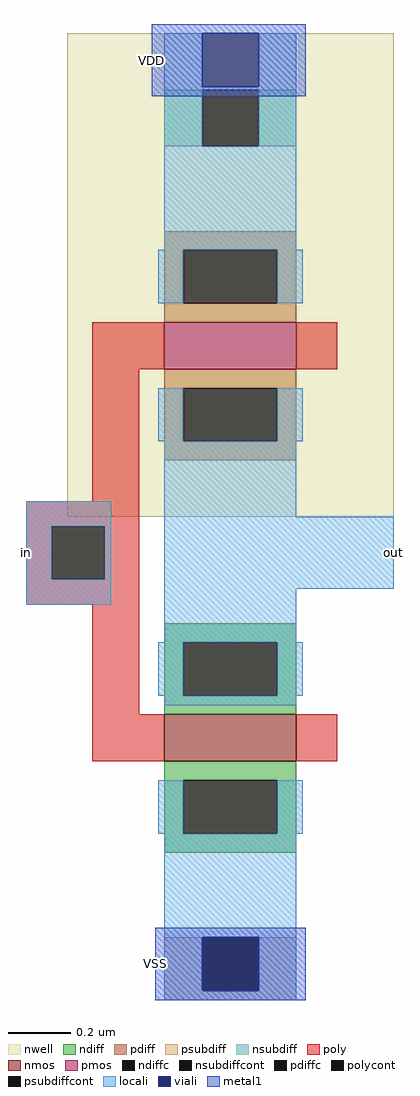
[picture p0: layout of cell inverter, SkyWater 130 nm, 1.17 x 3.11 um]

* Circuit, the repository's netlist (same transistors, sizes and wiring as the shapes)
* NGSPICE file created from inverter.ext - technology: sky130A

.subckt inverter in out VDD VSS
X0 VDD in out VDD sky130_fd_pr__pfet_01v8 ad=1.218e+11p pd=1.42e+06u as=1.218e+11p ps=1.42e+06u w=420000u l=150000u
X1 out in VSS VSS sky130_fd_pr__nfet_01v8 ad=1.218e+11p pd=1.42e+06u as=1.218e+11p ps=1.42e+06u w=420000u l=150000u
.ends

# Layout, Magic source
magic
tech sky130A
<< nwell >>
rect 0 89 104 243
<< nmos >>
rect 31 11 73 26
<< pmos >>
rect 31 136 73 151
<< ndiff >>
rect 31 49 73 55
rect 31 32 37 49
rect 67 32 73 49
rect 31 26 73 32
rect 31 5 73 11
rect 31 -12 37 5
rect 67 -12 73 5
rect 31 -18 73 -12
<< pdiff >>
rect 31 174 73 180
rect 31 157 37 174
rect 67 157 73 174
rect 31 151 73 157
rect 31 130 73 136
rect 31 113 37 130
rect 67 113 73 130
rect 31 107 73 113
<< ndiffc >>
rect 37 32 67 49
rect 37 -12 67 5
<< pdiffc >>
rect 37 157 67 174
rect 37 113 67 130
<< psubdiff >>
rect 31 -62 43 -45
rect 61 -62 73 -45
rect 31 -65 73 -62
<< nsubdiff >>
rect 31 207 43 225
rect 61 207 73 225
<< psubdiffcont >>
rect 43 -62 61 -45
<< nsubdiffcont >>
rect 43 207 61 225
<< poly >>
rect 8 136 31 151
rect 73 136 86 151
rect 8 94 23 136
rect -13 86 23 94
rect -13 69 -5 86
rect 12 69 23 86
rect -13 61 23 69
rect 8 26 23 61
rect 8 11 31 26
rect 73 11 86 26
<< polycont >>
rect -5 69 12 86
<< locali >>
rect 31 226 43 243
rect 61 226 73 243
rect 31 225 73 226
rect 31 207 43 225
rect 61 207 73 225
rect 31 174 73 207
rect 29 157 37 174
rect 67 157 75 174
rect 29 113 37 130
rect 67 113 75 130
rect -13 86 14 94
rect -13 69 -5 86
rect 12 69 14 86
rect -13 61 14 69
rect 31 89 73 113
rect 31 66 104 89
rect 31 49 73 66
rect 29 32 37 49
rect 67 32 75 49
rect 31 29 73 32
rect 29 -12 37 5
rect 67 -12 75 5
rect 31 -45 73 -12
rect 31 -62 43 -45
rect 61 -62 73 -45
rect 31 -65 73 -62
<< viali >>
rect 43 226 61 243
rect 43 -62 61 -45
<< metal1 >>
rect 27 243 76 246
rect 27 226 43 243
rect 61 226 76 243
rect 27 223 76 226
rect 28 -45 76 -42
rect 28 -62 43 -45
rect 61 -62 76 -45
rect 28 -65 76 -62
<< labels >>
rlabel locali -13 66 -13 89 7 in
rlabel locali 104 66 104 89 3 out
rlabel metal1 27 223 27 246 7 VDD
port 1 w
rlabel metal1 28 -65 28 -42 7 VSS
port 2 w
<< end >>
